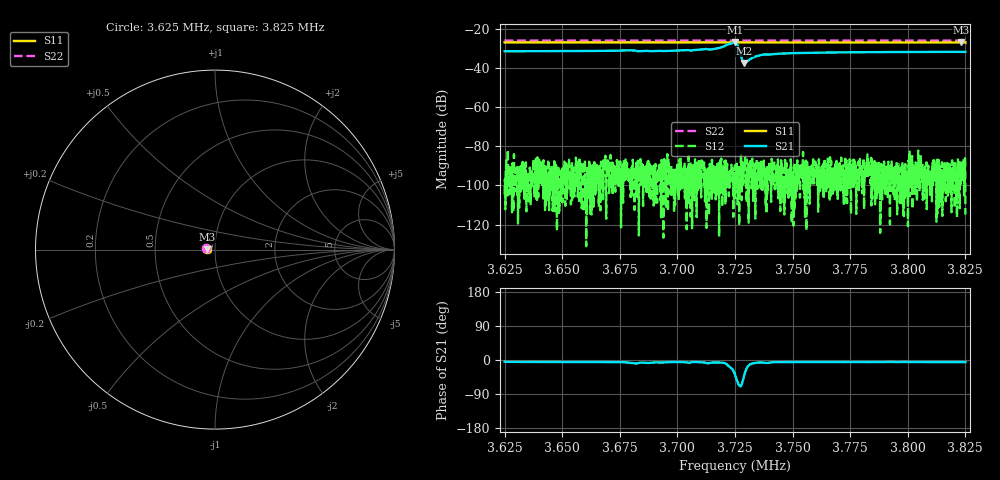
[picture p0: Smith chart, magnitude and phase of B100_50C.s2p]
# Hz S dB R 50.000
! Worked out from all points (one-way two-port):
!   6401 points, 3.625 MHz to 3.825 MHz, reference 50 ohm
!   highest |S21| = -26.53 dB at 3.725 MHz (marker M1); lowest = -37.3 dB at 3.729 MHz (marker M2)
!   lowest |S11| = -26.8 dB at 3.823 MHz (marker M3), VSWR 1.10, Z = 45.6 + j0.332 ohm
!   |S11| at or under -10 dB: start of sweep to end of sweep
!   |S22| runs from -25.9 to -25.7 dB; largest |S21 - S12| = 0.047
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3625000  -26.73 173.8  -31.27 -4.3  -104.63 -84.8  -25.74 172.0
3658344  -26.73 174.1  -31.15 -5.3  -104.25 -26.5  -25.76 172.3
3678281  -26.73 174.2  -30.78 -6.6  -94.00 48.4  -25.77 172.5
3683281  -26.73 174.2  -31.25 -7.5  -125.63 -72.9  -25.77 172.4
3691688  -26.74 174.4  -31.08 -6.3  -93.75 5.5  -25.78 172.6
3714844  -26.74 174.6  -30.30 -6.9  -92.58 -68.3  -25.79 172.8
3718625  -26.74 174.6  -29.44 -6.6  -89.83 88.0  -25.79 172.8
3721812  -26.74 174.6  -27.75 -13.4  -96.33 -104.0  -25.79 172.8
3725000  -26.75 174.6  -26.53 -38.6  -89.61 33.6  -25.79 172.9
3725594  -26.74 174.6  -27.03 -49.8  -97.78 150.1  -25.79 172.9
3726125  -26.74 174.7  -28.19 -59.1  -109.68 112.8  -25.79 172.9
3726688  -26.74 174.6  -29.91 -65.9  -102.23 -113.5  -25.80 172.9
3728125  -26.74 174.6  -35.88 -60.7  -87.97 101.6  -25.79 172.9
3728594  -26.75 174.7  -37.05 -49.1  -97.08 74.8  -25.79 172.9
3729062  -26.74 174.7  -37.31 -37.8  -88.29 36.2  -25.79 172.9
3729844  -26.75 174.7  -36.88 -24.7  -96.94 -156.3  -25.80 172.9
3733156  -26.75 174.7  -34.29 -8.2  -94.48 31.2  -25.80 173.0
3737156  -26.75 174.7  -33.01 -6.8  -99.59 113.8  -25.80 173.0
3758344  -26.75 174.9  -32.01 -5.4  -95.80 58.8  -25.81 173.2
3791688  -26.76 175.2  -31.74 -5.2  -89.26 63.0  -25.83 173.4
3823125  -26.77 175.5  -31.58 -5.5  -95.07 -2.6  -25.85 173.7
3825000  -26.76 175.5  -31.58 -5.6  -114.90 46.9  -25.85 173.7
